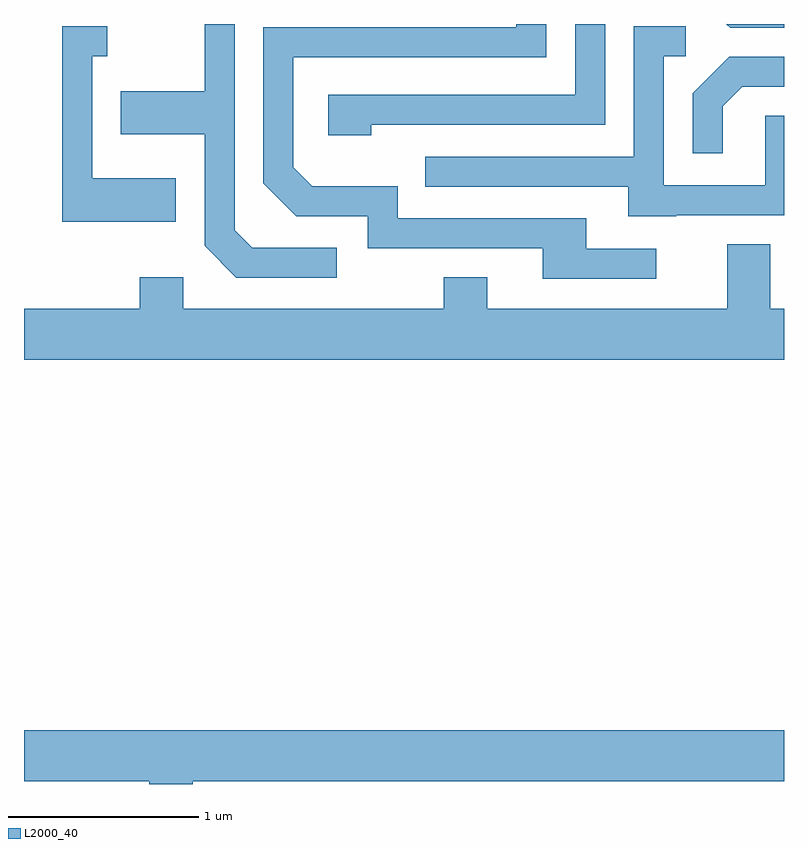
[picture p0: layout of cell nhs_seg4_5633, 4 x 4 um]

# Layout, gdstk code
import gdstk
lib = gdstk.Library(unit=1e-6, precision=1e-09)
def P(c, l, *ps):  # polygons
    for p in ps: c.add(gdstk.Polygon(p, *l))
L2000_40 = (2000, 40)

nhs_seg4_5633 = lib.new_cell('nhs_seg4_5633')
P(nhs_seg4_5633, L2000_40, [(351.439,1371.451),(352.669,1371.451),(352.669,1371.982),(352.511,1371.982),(352.511,1371.609),(351.211,1371.609),(351.211,1371.396),(351.439,1371.396)],
  [(353.611,1371.982),(353.308,1371.982),(353.329,1371.961),(353.611,1371.961)],
  [(351.258,1370.804),(350.812,1370.804),(350.719,1370.897),(350.719,1371.982),(350.561,1371.982),(350.561,1371.629),(350.121,1371.629),(350.121,1371.401),(350.561,1371.401),(350.561,1370.814),(350.729,1370.646),(351.258,1370.646)],
  [(352.938,1370.799),(352.569,1370.799),(352.569,1370.959),(351.579,1370.959),(351.579,1371.129),(351.127,1371.129),(351.029,1371.227),(351.029,1371.806),(352.359,1371.806),(352.359,1371.982),(352.201,1371.982),(352.201,1371.964),(350.871,1371.964),(350.871,1371.144),(351.044,1370.971),(351.421,1370.971),(351.421,1370.801),(352.341,1370.801),(352.341,1370.641),(352.938,1370.641)],
  [(353.045,1370.976),(353.611,1370.976),(353.611,1371.499),(353.511,1371.499),(353.511,1371.134),(352.979,1371.134),(352.979,1371.811),(353.093,1371.811),(353.093,1371.969),(352.821,1371.969),(352.821,1371.284),(351.723,1371.284),(351.723,1371.126),(352.791,1371.126),(352.791,1370.971),(353.045,1370.971)],
  [(350.409,1371.169),(349.969,1371.169),(349.969,1371.811),(350.048,1371.811),(350.048,1371.969),(349.811,1371.969),(349.811,1370.941),(350.409,1370.941)],
  [(353.289,1371.549),(353.392,1371.651),(353.611,1371.651),(353.611,1371.809),(353.324,1371.809),(353.131,1371.617),(353.131,1371.303),(353.289,1371.303)],
  [(353.611,1370.484),(353.539,1370.484),(353.539,1370.824),(353.311,1370.824),(353.311,1370.484),(352.049,1370.484),(352.049,1370.649),(351.821,1370.649),(351.821,1370.484),(350.449,1370.484),(350.449,1370.649),(350.221,1370.649),(350.221,1370.484),(349.611,1370.484),(349.611,1370.216),(353.611,1370.216)],
  [(350.499,1367.996),(353.611,1367.996),(353.611,1368.264),(349.611,1368.264),(349.611,1367.996),(350.271,1367.996),(350.271,1367.982),(350.499,1367.982)])

lib.write_gds('nhs_seg4_5633.gds')
